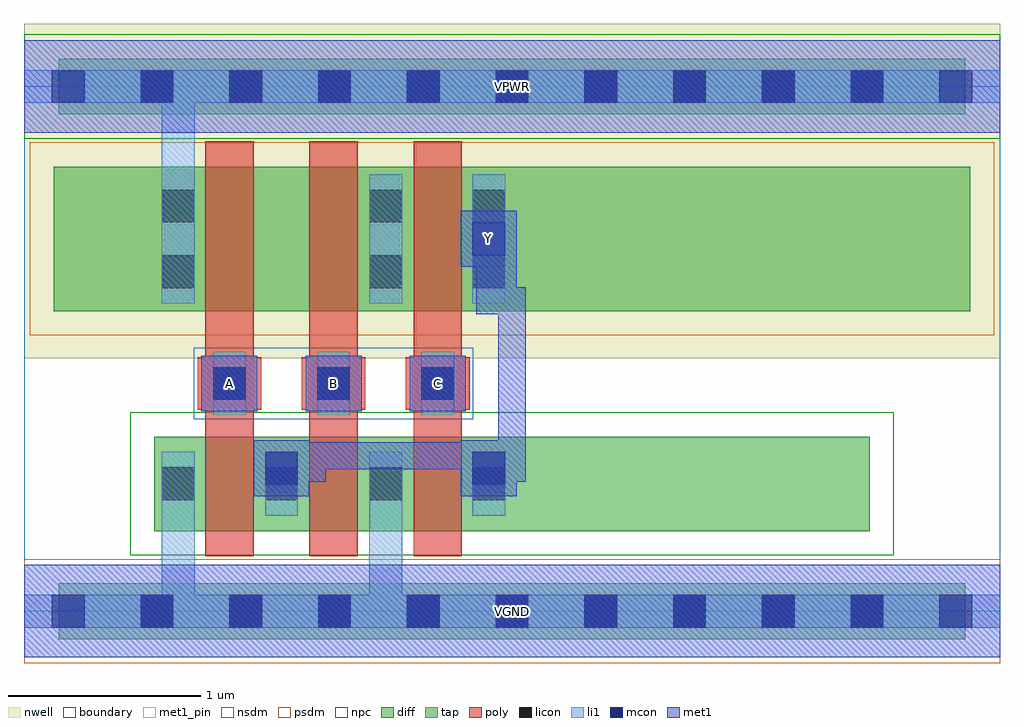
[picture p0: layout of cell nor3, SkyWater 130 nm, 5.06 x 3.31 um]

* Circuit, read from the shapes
.subckt nor3 A B C VGND VPWR Y
XM1 Y A VGND VGND sky130_fd_pr__nfet_01v8 w=0.49 l=0.25
XM2 VGND B Y VGND sky130_fd_pr__nfet_01v8 w=0.49 l=0.25
XM3 Y C VGND VGND sky130_fd_pr__nfet_01v8 w=0.49 l=0.25
XM4 n1 A VPWR VPWR sky130_fd_pr__pfet_01v8 w=0.75 l=0.25
XM5 n2 B n1 VPWR sky130_fd_pr__pfet_01v8 w=0.75 l=0.25
XM6 Y C n2 VPWR sky130_fd_pr__pfet_01v8 w=0.75 l=0.25
.ends

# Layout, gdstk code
import gdstk
lib = gdstk.Library(unit=1e-6, precision=1e-09)
def R(c, l, rs):  # rectangles x0, y0, x1, y1
    for r in rs: c.add(gdstk.rectangle(r[:2], r[2:], *l))
def A(c, l, x, y, w, h, nx, ny, dx, dy):  # array of equal rectangles
    R(c, l, [(x+i*dx, y+j*dy, x+i*dx+w, y+j*dy+h) for i in range(nx) for j in range(ny)])
nwell = (64, 20)
diff = (65, 20)
tap = (65, 44)
poly = (66, 20)
licon = (66, 44)
li1 = (67, 20)
mcon = (67, 44)
met1_pin = (68, 16)
met1 = (68, 20)
nsdm = (93, 44)
psdm = (94, 20)
npc = (95, 20)
boundary = (235, 4)

nor3 = lib.new_cell('nor3')
R(nor3, nwell, [(0,1.31,5.06,3.045)])
R(nor3, diff, [(0.675,0.415,4.385,0.905), (0.155,1.555,4.905,2.305)])
R(nor3, tap, [(0.18,-0.145,4.88,0.145), (0.18,2.575,4.88,2.865)])
A(nor3, poly, 0.94, 0.285, 0.25, 2.15, 3, 1, 0.54, 0)
A(nor3, poly, 0.9, 1.045, 0.33, 0.27, 3, 1, 0.54, 0)
A(nor3, licon, 0.605, -0.085, 0.17, 0.17, 9, 2, 0.46, 2.72)
A(nor3, licon, 0.98, 1.095, 0.17, 0.17, 3, 1, 0.54, 0)
R(nor3, licon, [(0.715,0.575,0.885,0.745), (1.25,0.575,1.42,0.745), (1.79,0.575,1.96,0.745), (2.325,0.575,2.495,0.745), (0.715,1.675,0.885,1.845), (1.79,1.675,1.96,1.845), (2.325,1.675,2.495,1.845), (0.715,2.015,0.885,2.185), (1.79,2.015,1.96,2.185), (2.325,2.015,2.495,2.185)])
A(nor3, li1, 0.98, 1.015, 0.17, 0.33, 3, 1, 0.54, 0)
R(nor3, li1, [(0,-0.085,5.06,0.085), (0.715,-0.085,0.885,0.825), (1.79,-0.085,1.96,0.825), (0.715,0.495,0.885,0.825), (1.25,0.495,1.42,0.825), (1.79,0.495,1.96,0.825), (2.325,0.495,2.495,0.825), (0.715,1.595,0.885,2.265), (0.715,1.595,0.885,2.805), (1.79,1.595,1.96,2.265), (2.325,1.595,2.495,2.265), (0,2.635,5.06,2.805)])
A(nor3, mcon, 0.145, -0.085, 0.17, 0.17, 11, 2, 0.46, 2.72)
A(nor3, mcon, 0.98, 1.095, 0.17, 0.17, 3, 1, 0.54, 0)
R(nor3, mcon, [(1.25,0.655,1.42,0.825), (2.325,0.655,2.495,0.825), (2.325,1.845,2.495,2.015)])
A(nor3, met1_pin, 0.92, 1.035, 0.29, 0.29, 3, 1, 0.54, 0)
R(nor3, met1_pin, [(0,-0.24,5.06,0.24), (2.265,1.785,2.555,2.075), (0,2.48,5.06,2.96)])
A(nor3, met1, 0.92, 1.035, 0.29, 0.29, 3, 1, 0.54, 0)
R(nor3, met1, [(0,-0.24,5.06,0.24), (1.19,0.595,1.48,0.885), (2.265,0.595,2.555,0.885), (1.265,0.67,1.565,0.81), (1.425,0.67,1.565,0.875), (2.34,0.67,2.6,0.81), (2.46,0.67,2.6,0.99), (1.425,0.735,2.6,0.875), (2.46,0.735,2.6,0.99), (2.46,0.85,2.6,1.68), (2.345,1.54,2.485,2.025), (2.345,1.54,2.6,1.68), (2.345,1.68,2.555,1.785), (2.46,1.68,2.555,1.785), (2.265,1.785,2.555,2.075), (2.345,1.885,2.485,2.025), (0,2.48,5.06,2.96)])
R(nor3, nsdm, [(0.55,0.29,4.51,1.03), (0,2.45,5.06,2.99)])
R(nor3, psdm, [(0,-0.27,5.06,0.27), (0.03,1.43,5.03,2.43)])
R(nor3, npc, [(0.88,0.995,2.33,1.365)])
R(nor3, boundary, [(0,0,5.06,2.72)])
nor3.add(gdstk.Label('A', (1.065,1.18), layer=68, texttype=5))
nor3.add(gdstk.Label('B', (1.605,1.18), layer=68, texttype=5))
nor3.add(gdstk.Label('C', (2.145,1.18), layer=68, texttype=5))
nor3.add(gdstk.Label('Y', (2.41,1.93), layer=68, texttype=5))
nor3.add(gdstk.Label('VPWR', (2.53,2.72), layer=68, texttype=5))
nor3.add(gdstk.Label('VGND', (2.53,0), layer=68, texttype=5))
nor3.add(gdstk.Label('A', (1.065,1.18), layer=68, texttype=16))
nor3.add(gdstk.Label('B', (1.605,1.18), layer=68, texttype=16))
nor3.add(gdstk.Label('C', (2.145,1.18), layer=68, texttype=16))
nor3.add(gdstk.Label('Y', (2.41,1.93), layer=68, texttype=16))
nor3.add(gdstk.Label('VPWR', (2.53,2.72), layer=68, texttype=16))
nor3.add(gdstk.Label('VGND', (2.53,0), layer=68, texttype=16))

lib.write_gds('nor3.gds')
